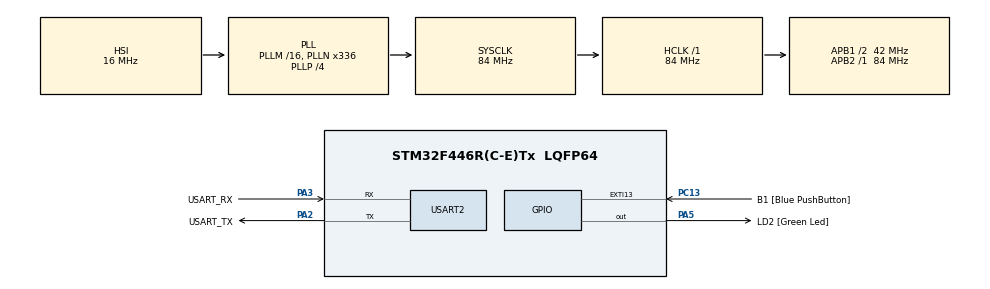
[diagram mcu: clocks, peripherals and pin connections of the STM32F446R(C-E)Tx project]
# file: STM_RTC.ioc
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Mcu.Family=STM32F4
Mcu.Name=STM32F446R(C-E)Tx
Mcu.Package=LQFP64
NVIC.PriorityGroup=NVIC_PRIORITYGROUP_0
PA13.GPIO_Label=TMS
PA13.Mode=Serial_Wire
PA13.Signal=SYS_JTMS-SWDIO
PA14.GPIO_Label=TCK
PA14.Mode=Serial_Wire
PA14.Signal=SYS_JTCK-SWCLK
PA2.GPIO_Label=USART_TX
PA2.Mode=Asynchronous
PA2.Signal=USART2_TX
PA3.GPIO_Label=USART_RX
PA3.Mode=Asynchronous
PA3.Signal=USART2_RX
PA5.GPIO_Label=LD2 [Green Led]
PA5.Signal=GPIO_Output
PB3.GPIO_Label=SWO
PB3.Signal=SYS_JTDO-SWO
PC13.GPIO_Label=B1 [Blue PushButton]
PC13.GPIO_ModeDefaultEXTI=GPIO_MODE_IT_FALLING
PC13.Signal=GPXTI13
PC14-OSC32_IN.Mode=LSE-External-Oscillator
PC14-OSC32_IN.Signal=RCC_OSC32_IN
PC15-OSC32_OUT.Mode=LSE-External-Oscillator
PC15-OSC32_OUT.Signal=RCC_OSC32_OUT
PH0-OSC_IN.Mode=HSE-External-Oscillator
PH0-OSC_IN.Signal=RCC_OSC_IN
PH1-OSC_OUT.Mode=HSE-External-Oscillator
PH1-OSC_OUT.Signal=RCC_OSC_OUT
ProjectManager.HeapSize=0x200
ProjectManager.StackSize=0x400
ProjectManager.TargetToolchain=STM32CubeIDE
RCC.48MHZClocksFreq_Value=84000000
RCC.AHBFreq_Value=84000000
RCC.APB1CLKDivider=RCC_HCLK_DIV2
RCC.APB1Freq_Value=42000000
RCC.APB1TimFreq_Value=84000000
RCC.APB2Freq_Value=84000000
RCC.APB2TimFreq_Value=84000000
RCC.CortexFreq_Value=84000000
RCC.FLatency-AdvancedSettings=FLASH_LATENCY_2
RCC.HCLKFreq_Value=84000000
RCC.HSE_VALUE=8000000
RCC.HSI_VALUE=16000000
RCC.PLLN=336
RCC.PLLP=RCC_PLLP_DIV4
RCC.SYSCLKFreq_VALUE=84000000
RCC.SYSCLKSource=RCC_SYSCLKSOURCE_PLLCLK
RCC.USBFreq_Value=168000000
RCC.VCOOutputFreq_Value=336000000
RTC.HourFormat=RTC_HOURFORMAT_12
USART2.VirtualMode=VM_ASYNC
VP_RTC_VS_RTC_Activate.Mode=RTC_Enabled
board=NUCLEO-F446RE

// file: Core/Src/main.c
/* USER CODE BEGIN Header */
/**
 ******************************************************************************
 * @file           : main.c
 * @brief          : Main program body
 ******************************************************************************
 * @attention
 *
 * Copyright (c) 2025 STMicroelectronics.
 * All rights reserved.
 *
 * This software is licensed under terms that can be found in the LICENSE file
 * in the root directory of this software component.
 * If no LICENSE file comes with this software, it is provided AS-IS.
 *
 ******************************************************************************
 */
/* USER CODE END Header */
#include "main.h"

/* USER CODE BEGIN Includes */
#include <stdio.h>
/* USER CODE END Includes */

RTC_HandleTypeDef hrtc;

UART_HandleTypeDef huart2;

void SystemClock_Config(void);
static void MX_GPIO_Init(void);
static void MX_RTC_Init(void);
static void MX_USART2_UART_Init(void);

int main(void)
{

  /* MCU Configuration--------------------------------------------------------*/

  /* Reset of all peripherals, Initializes the Flash interface and the Systick. */
  HAL_Init();

  /* Configure the system clock */
  SystemClock_Config();

  /* Initialize all configured peripherals */
  MX_GPIO_Init();
  MX_RTC_Init();
  MX_USART2_UART_Init();
  /* USER CODE BEGIN 2 */
  RTC_TimeTypeDef time = {0};
  time.Hours = 12;
  time.Minutes = 29;
  time.Seconds = 0;
  time.TimeFormat = RTC_HOURFORMAT12_AM;
  time.DayLightSaving = RTC_DAYLIGHTSAVING_NONE;
  time.StoreOperation = RTC_STOREOPERATION_RESET;

  if (HAL_RTC_SetTime(&hrtc, &time, RTC_FORMAT_BIN) != HAL_OK)
  {
    Error_Handler();
  }

  RTC_DateTypeDef sdate = {0};
  sdate.WeekDay = 2;
  sdate.Month = 9;
  sdate.Date = 23;
  sdate.Year = 25;

  if (HAL_RTC_SetDate(&hrtc, &sdate, RTC_FORMAT_BIN) != HAL_OK)
  {
    Error_Handler();
  }

  RTC_DateTypeDef gdate;
  RTC_TimeTypeDef gtime;
  /* USER CODE END 2 */

  /* Infinite loop */
  while (1)
  {

    /* USER CODE BEGIN 3 */

    HAL_RTC_GetTime(&hrtc, &gtime, RTC_FORMAT_BIN);
    HAL_RTC_GetDate(&hrtc, &gdate, RTC_FORMAT_BIN);
    printf("TIME -> %d:%d:%d\n", gtime.Hours, gtime.Minutes, gtime.Seconds);
    printf("DATE-> %d-%d-%d\n", gdate.Date, gdate.Month, 2000 + gdate.Year);
    HAL_Delay(1000);
  }
  /* USER CODE END 3 */
}

void SystemClock_Config(void)
{
  RCC_OscInitTypeDef RCC_OscInitStruct = {0};
  RCC_ClkInitTypeDef RCC_ClkInitStruct = {0};

  /** Configure the main internal regulator output voltage
   */
  __HAL_RCC_PWR_CLK_ENABLE();
  __HAL_PWR_VOLTAGESCALING_CONFIG(PWR_REGULATOR_VOLTAGE_SCALE3);

  /** Initializes the RCC Oscillators according to the specified parameters
   * in the RCC_OscInitTypeDef structure.
   */
  RCC_OscInitStruct.OscillatorType = RCC_OSCILLATORTYPE_HSI | RCC_OSCILLATORTYPE_LSI;
  RCC_OscInitStruct.LSEState = RCC_LSE_ON;
  RCC_OscInitStruct.HSIState = RCC_HSI_ON;
  RCC_OscInitStruct.HSICalibrationValue = RCC_HSICALIBRATION_DEFAULT;
  RCC_OscInitStruct.LSIState = RCC_LSI_ON;
  RCC_OscInitStruct.PLL.PLLState = RCC_PLL_ON;
  RCC_OscInitStruct.PLL.PLLSource = RCC_PLLSOURCE_HSI;
  RCC_OscInitStruct.PLL.PLLM = 16;
  RCC_OscInitStruct.PLL.PLLN = 336;
  RCC_OscInitStruct.PLL.PLLP = RCC_PLLP_DIV4;
  RCC_OscInitStruct.PLL.PLLQ = 2;
  RCC_OscInitStruct.PLL.PLLR = 2;
  if (HAL_RCC_OscConfig(&RCC_OscInitStruct) != HAL_OK)
  {
    Error_Handler();
  }

  /** Initializes the CPU, AHB and APB buses clocks
   */
  RCC_ClkInitStruct.ClockType = RCC_CLOCKTYPE_HCLK | RCC_CLOCKTYPE_SYSCLK | RCC_CLOCKTYPE_PCLK1 | RCC_CLOCKTYPE_PCLK2;
  RCC_ClkInitStruct.SYSCLKSource = RCC_SYSCLKSOURCE_PLLCLK;
  RCC_ClkInitStruct.AHBCLKDivider = RCC_SYSCLK_DIV1;
  RCC_ClkInitStruct.APB1CLKDivider = RCC_HCLK_DIV2;
  RCC_ClkInitStruct.APB2CLKDivider = RCC_HCLK_DIV1;

  if (HAL_RCC_ClockConfig(&RCC_ClkInitStruct, FLASH_LATENCY_2) != HAL_OK)
  {
    Error_Handler();
  }
}

static void MX_RTC_Init(void)
{

  /** Initialize RTC Only
   */
  hrtc.Instance = RTC;
  hrtc.Init.HourFormat = RTC_HOURFORMAT_12;
  hrtc.Init.AsynchPrediv = 127;
  hrtc.Init.SynchPrediv = 255;
  hrtc.Init.OutPut = RTC_OUTPUT_DISABLE;
  hrtc.Init.OutPutPolarity = RTC_OUTPUT_POLARITY_HIGH;
  hrtc.Init.OutPutType = RTC_OUTPUT_TYPE_OPENDRAIN;
  if (HAL_RTC_Init(&hrtc) != HAL_OK)
  {
    Error_Handler();
  }
}

static void MX_USART2_UART_Init(void)
{

  huart2.Instance = USART2;
  huart2.Init.BaudRate = 115200;
  huart2.Init.WordLength = UART_WORDLENGTH_8B;
  huart2.Init.StopBits = UART_STOPBITS_1;
  huart2.Init.Parity = UART_PARITY_NONE;
  huart2.Init.Mode = UART_MODE_TX_RX;
  huart2.Init.HwFlowCtl = UART_HWCONTROL_NONE;
  huart2.Init.OverSampling = UART_OVERSAMPLING_16;
  if (HAL_UART_Init(&huart2) != HAL_OK)
  {
    Error_Handler();
  }
}

static void MX_GPIO_Init(void)
{
  GPIO_InitTypeDef GPIO_InitStruct = {0};

  /* GPIO Ports Clock Enable */
  __HAL_RCC_GPIOC_CLK_ENABLE();
  __HAL_RCC_GPIOH_CLK_ENABLE();
  __HAL_RCC_GPIOA_CLK_ENABLE();
  __HAL_RCC_GPIOB_CLK_ENABLE();

  /*Configure GPIO pin Output Level */
  HAL_GPIO_WritePin(LD2_GPIO_Port, LD2_Pin, GPIO_PIN_RESET);

  /*Configure GPIO pin : B1_Pin */
  GPIO_InitStruct.Pin = B1_Pin;
  GPIO_InitStruct.Mode = GPIO_MODE_IT_FALLING;
  GPIO_InitStruct.Pull = GPIO_NOPULL;
  HAL_GPIO_Init(B1_GPIO_Port, &GPIO_InitStruct);

  /*Configure GPIO pin : LD2_Pin */
  GPIO_InitStruct.Pin = LD2_Pin;
  GPIO_InitStruct.Mode = GPIO_MODE_OUTPUT_PP;
  GPIO_InitStruct.Pull = GPIO_NOPULL;
  GPIO_InitStruct.Speed = GPIO_SPEED_FREQ_LOW;
  HAL_GPIO_Init(LD2_GPIO_Port, &GPIO_InitStruct);

}

/* USER CODE BEGIN 4 */
int _write(int file, char *ptr, int len)
{

  uint32_t timeout = HAL_GetTick() + 100; // 100ms timeout
  while (HAL_GetTick() < timeout)
  {
    if (huart2.gState == HAL_UART_STATE_READY)
    {
      HAL_UART_Transmit(&huart2, (uint8_t *)ptr, len, HAL_MAX_DELAY);
      return len;
    }
  }
  return -1; // Error: USB not ready or timeout
}
/* USER CODE END 4 */

void Error_Handler(void)
{
  __disable_irq();
  while (1)
  {
  }
}
